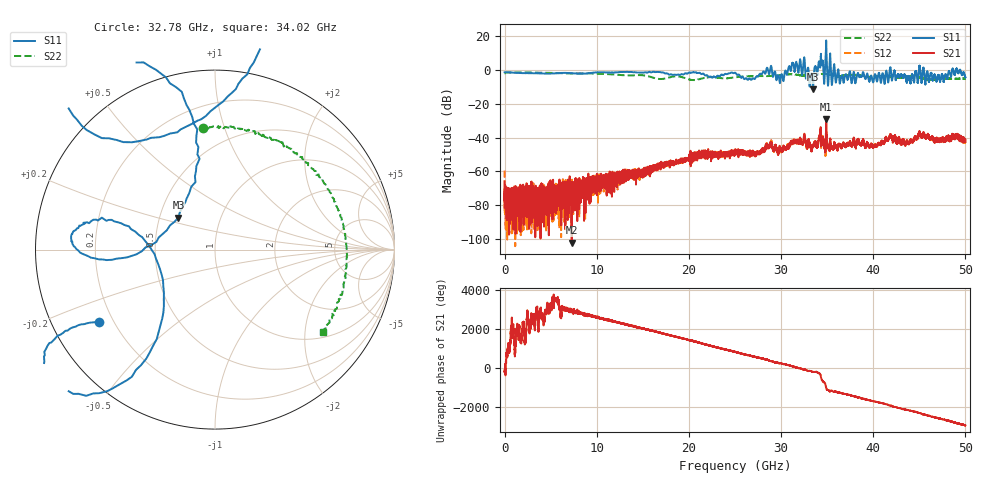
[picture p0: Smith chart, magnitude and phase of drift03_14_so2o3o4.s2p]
!Created with skrf (http://scikit-rf.org).
# Hz S RI R 50.0
!freq ReS11 ImS11 ReS21 ImS21 ReS12 ImS12 ReS22 ImS22
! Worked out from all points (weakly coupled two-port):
!   10001 points, 300 kHz to 50 GHz, reference 50 ohm
!   highest |S21| = -29.27 dB at 34.89 GHz (marker M1); lowest = -102.4 dB at 7.28 GHz (marker M2)
!   lowest |S11| = -11.3 dB at 33.47 GHz (marker M3), VSWR 1.74, Z = 31.3 + j12.1 ohm
!   |S11| at or under -10 dB: 33.4463 GHz to 33.48691 GHz (40.6 MHz wide, 0.121 % of centre)
!   |S22| runs from -6.0 to -1.3 dB; largest |S21 - S12| = 0.011
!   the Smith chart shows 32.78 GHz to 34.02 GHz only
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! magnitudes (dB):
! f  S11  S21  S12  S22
! 300 kHz  -1.3  -65.9  -59.6  -2.1
! 255.3 MHz  -1.3  -83.0  -74.4  -1.4
! 700.3 MHz  -1.4  -72.6  -79.8  -1.5
! 7.28 GHz  -1.8  -102.4  -68.1  -2.0
! 8.335 GHz  -2.2  -66.8  -72.3  -1.9
! 16.67 GHz  -1.1  -57.0  -55.9  -5.2
! 25 GHz  -1.5  -49.0  -48.4  -4.3
! 26.92 GHz  -4.9  -49.5  -49.2  -3.6
! 28.72 GHz  -2.3  -45.7  -45.2  -3.6
! 30.06 GHz  -2.5  -46.6  -47.9  -2.8
! 31.87 GHz  -1.5  -42.6  -42.1  -2.9
! 33.34 GHz  -2.2  -47.2  -47.7  -2.9
! 33.47 GHz  -11.3  -44.6  -44.9  -2.8
! 34.3 GHz  7.3  -33.8  -35.2  -2.3
! 34.89 GHz  17.5  -29.3  -32.3  -2.4
! 36.58 GHz  -3.4  -46.4  -45.7  -3.6
! 40.2 GHz  -2.3  -45.3  -44.4  -3.7
! 41.67 GHz  -5.7  -40.7  -40.9  -3.7
! 43.84 GHz  -3.6  -43.1  -43.9  -3.9
! 45.22 GHz  -6.5  -39.6  -39.3  -4.6
! 47.06 GHz  -3.0  -41.1  -42.4  -5.1
! 50 GHz  -4.4  -42.5  -40.8  -5.0
